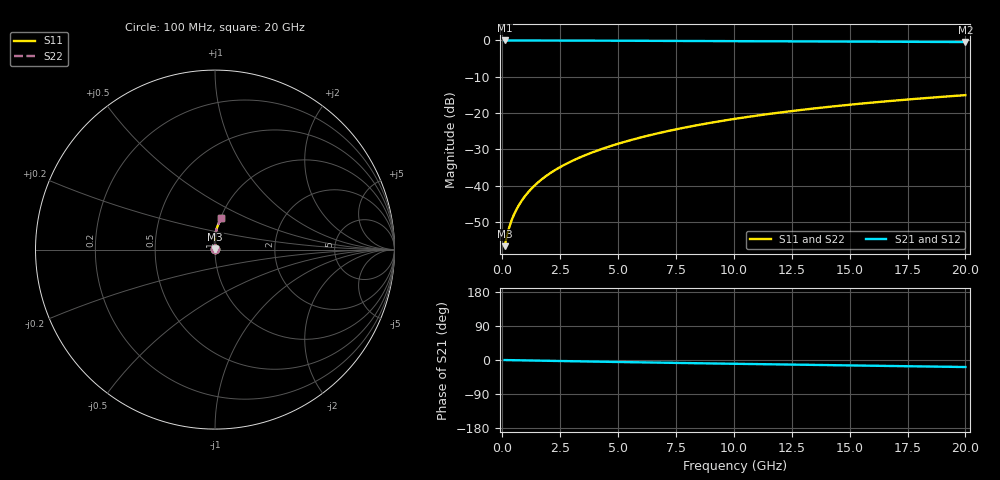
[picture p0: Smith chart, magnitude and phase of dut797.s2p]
! Touchstone file exported from HFSS 2024.1.0
!  File:  C:/UserFiles/LocalFiles/RDL_TSV_Batchsim/temp_RDL_top_797_1779853597.aedt
!  Generated:  11:48:35 AM May 27, 2026
!  Design:  RDL_top
!  Project:  temp_RDL_top_797_1779853597
!  Setup:  Setup1
!  Solution:  Sweep
! Variables:
!  dtsv = 10.80580581um
!  hbump = 3um
!  htsv = 93.68um
!  ldown = 100um
!  lrdl = 249.95um
!  p = 40
!  p1 = 47.62um
!  rhole = 1um
!  t = 450um
!  tdown = 3.915915916um
!  trdl = 3.53um
!  wdown = 15.38538539um
!  wrdl = 25.09um
# GHz S MA R 50.000000
! Terminal data exported
! Port[1] = Box2_T1
! Port[2] = Box2_T2
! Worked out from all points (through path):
!   200 points, 100 MHz to 20 GHz, reference 50 ohm
!   highest |S21| = -0.01 dB at 100 MHz (marker M1); lowest = -0.4 dB at 20 GHz (marker M2)
!   group delay of S21, straight-line fit = 2.54 ps
!   lowest |S11| = -56.6 dB at 100 MHz (marker M3), VSWR 1.00, Z = 50.1 + j0.0818 ohm
!   |S11| at or under -10 dB: start of sweep to end of sweep
!   |S22| runs from -56.6 to -15.0 dB; largest |S21 - S12| = 3.1e-15
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0.1  0.001481 33.4  0.9988 -0.1  0.9988 -0.1  0.001481 33.4
! Gamma 0 0 0 0
! Port Impedance 50 0 50 0
0.2  0.002055 50.6  0.9987 -0.2  0.9987 -0.2  0.002055 50.6
0.3  0.002693 59.4  0.9986 -0.3  0.9986 -0.3  0.002693 59.4
0.4  0.00334 64.9  0.9985 -0.4  0.9985 -0.4  0.00334 64.9
0.5  0.003992 68.8  0.9984 -0.6  0.9984 -0.6  0.003992 68.8
0.6  0.004651 71.7  0.9983 -0.7  0.9983 -0.7  0.004651 71.7
0.8  0.00599 75.9  0.9982 -0.9  0.9982 -0.9  0.00599 75.9
1.1  0.008046 79.9  0.998 -1.2  0.998 -1.2  0.008045 79.9
1.3  0.00944 81.7  0.9978 -1.4  0.9978 -1.4  0.00944 81.7
1.6  0.01156 83.7  0.9974 -1.7  0.9974 -1.7  0.01156 83.7
2.1  0.01517 86.0  0.9968 -2.3  0.9968 -2.3  0.01517 86.0
2.7  0.01962 87.8  0.9958 -2.9  0.9958 -2.9  0.01962 87.8
3.5  0.02576 89.3  0.9941 -3.8  0.9941 -3.8  0.02576 89.3
4.2  0.03133 90.1  0.9925 -4.5  0.9925 -4.5  0.03133 90.1
5  0.03792 90.6  0.9904 -5.3  0.9904 -5.3  0.03792 90.6
6.8  0.05354 90.7  0.9854 -7.0  0.9854 -7.0  0.05354 90.7
8.4  0.06811 90.0  0.9808 -8.5  0.9808 -8.5  0.06811 90.0
10.1  0.08402 88.7  0.976 -10.0  0.976 -10.0  0.08402 88.7
11.7  0.0992 87.3  0.9716 -11.5  0.9716 -11.5  0.0992 87.3
13.4  0.1154 85.6  0.9671 -12.9  0.9671 -12.9  0.1154 85.6
16.7  0.1465 82.2  0.9587 -15.8  0.9587 -15.8  0.1465 82.2
20  0.1768 78.7  0.9504 -18.5  0.9504 -18.5  0.1768 78.7
